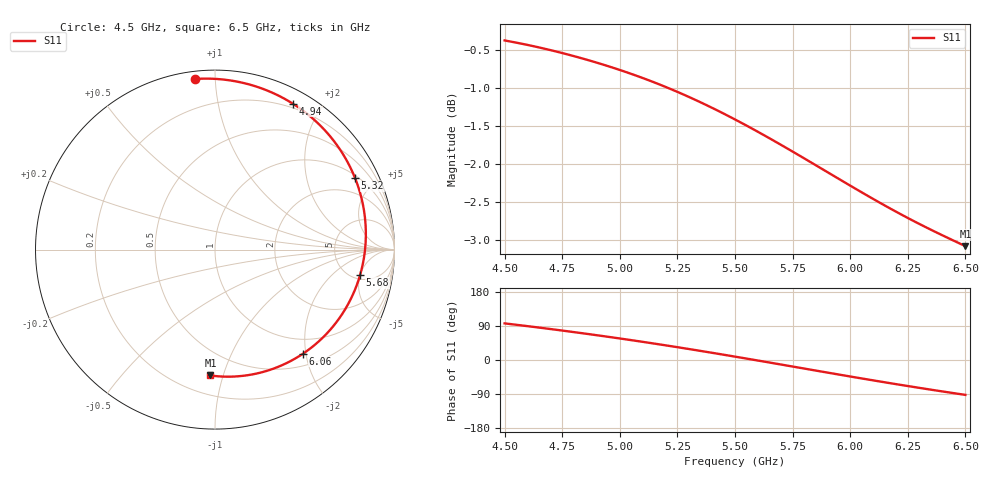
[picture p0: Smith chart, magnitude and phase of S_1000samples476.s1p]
! TOUCHSTONE file generated by CST MICROWAVE STUDIO
! Date and time: Fri Oct 28 07:15:16 2022
! Project name: L.cst
! Parameters = {Di=1.27; Epsilon_r=1.56; InnerDiameter=1.27; Length=2; Lf=10; Lg=60; OuterConductorThickness=0.2921; OuterDiameter=3.6; Wf=3; Wp=41.2; de=1.5; df=6.8; g=0.8; gx=3.94462; gy=4.6113; h=2.34; hf=1.524; px=12.262; py=11.0248; w=9.7; wx=8.31736; wy=6.41348}
! Header version: 2018
! Port assignment regex: !\s*Touchstone port\s*([0-9]+)\s*=\s*(CST MWS port|CST DS port)\s*([0-9]+|Zmin|Zmax)\s*\(\"(.*)\"\)(\s*mode\s*([0-9]+))?.*
! Touchstone port assignment:
! Touchstone port 1 = CST MWS port 1 ("")
# GHz S DB R 50
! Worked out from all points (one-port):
!   101 points, 4.5 GHz to 6.5 GHz, reference 50 ohm
!   lowest |S11| = -3.1 dB at 6.5 GHz (marker M1), VSWR 5.70, Z = 16.5 - j45.5 ohm
!   |S11| at or under -10 dB: nowhere
!   S11 on the Smith chart (normalised r, x): 4.5 GHz: 0.04, +0.89; 4.94 GHz: 0.15, +1.65; 5.32 GHz: 1.13, +3.86; 5.68 GHz: 5.79, -4.99; 6.06 GHz: 0.71, -1.95; 6.5 GHz: 0.33, -0.91
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4.5  -0.38 96.6
4.58  -0.43 90.8
4.64  -0.47 86.2
4.7  -0.51 81.6
4.76  -0.55 76.9
4.86  -0.64 68.8
4.94  -0.71 62.0
5  -0.77 56.8
5.06  -0.83 51.5
5.12  -0.90 46.0
5.2  -0.99 38.6
5.26  -1.07 32.8
5.32  -1.15 27.0
5.42  -1.29 17.0
5.5  -1.42 8.9
5.58  -1.55 0.6
5.68  -1.72 -9.9
5.76  -1.86 -18.3
5.82  -1.96 -24.6
5.88  -2.07 -31.0
5.94  -2.18 -37.3
6  -2.28 -43.5
6.06  -2.39 -49.7
6.16  -2.56 -59.8
6.26  -2.72 -69.7
6.32  -2.82 -75.4
6.38  -2.91 -81.1
6.5  -3.08 -92.1
